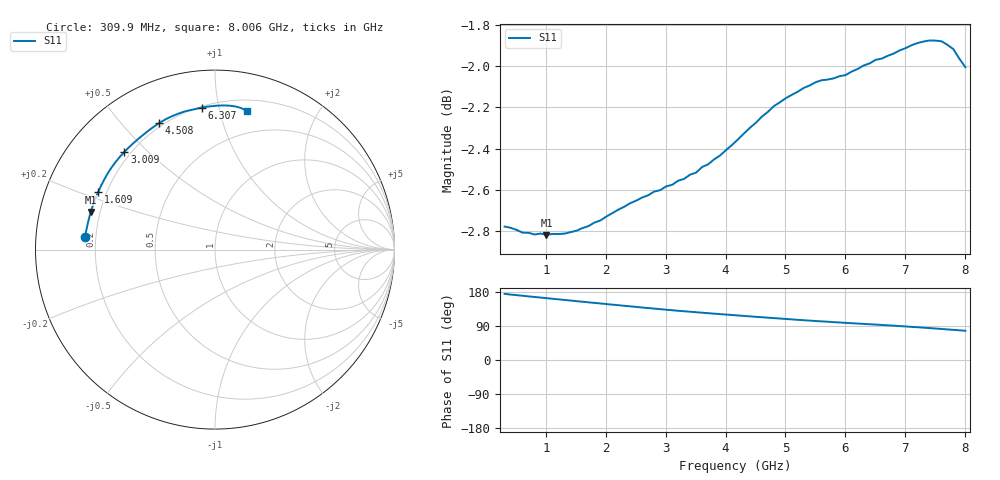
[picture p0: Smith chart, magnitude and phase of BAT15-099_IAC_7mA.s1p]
! Infineon Technologies  Discrete & RF Semiconductors
! BAT15-099
! IAC = 7 mA
! One-Port S-Parameters
# Hz  S  MA  R  50
!f  S11
!Hz  Mag  Ang
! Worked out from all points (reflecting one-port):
!   78 points, 309.9 MHz to 8.006 GHz, reference 50 ohm
!   lowest |S11| = -2.8 dB at 1.01 GHz (marker M1), VSWR 6.22, Z = 8.21 + j7.19 ohm
!   phase of S11 starts at 175 deg and turns -97 deg over the sweep
!   S11 on the Smith chart (normalised r, x): 309.9 MHz: 0.16, +0.05; 1.609 GHz: 0.17, +0.23; 3.009 GHz: 0.18, +0.43; 4.508 GHz: 0.18, +0.63; 6.307 GHz: 0.21, +0.89; 8.006 GHz: 0.29, +1.21
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3.0985e8  0.7262 174.5
4.098e8  0.7257 172.7
5.0975e8  0.7249 171.2
6.097e8  0.7237 169.5
1.0095e9  0.7228 163.2
1.30935e9  0.7233 158.5
1.6092e9  0.7256 153.8
2.009e9  0.7303 147.6
2.30885e9  0.7343 143.0
2.6087e9  0.7381 138.6
2.70865e9  0.739 137.0
3.0085e9  0.7427 132.8
3.2084e9  0.7451 129.9
3.6082e9  0.7508 124.8
4.2079e9  0.7625 117.5
4.50775e9  0.7697 113.9
4.8076e9  0.7769 110.5
5.2074e9  0.7832 106.0
5.50725e9  0.7873 102.9
6.007e9  0.7905 98.0
6.10695e9  0.792 97.1
6.30685e9  0.7947 95.3
6.8066e9  0.8 90.6
7.10645e9  0.8038 87.4
7.4063e9  0.8059 84.3
7.6062e9  0.8056 82.0
7.8061e9  0.802 79.5
8.006e9  0.7939 77.1
